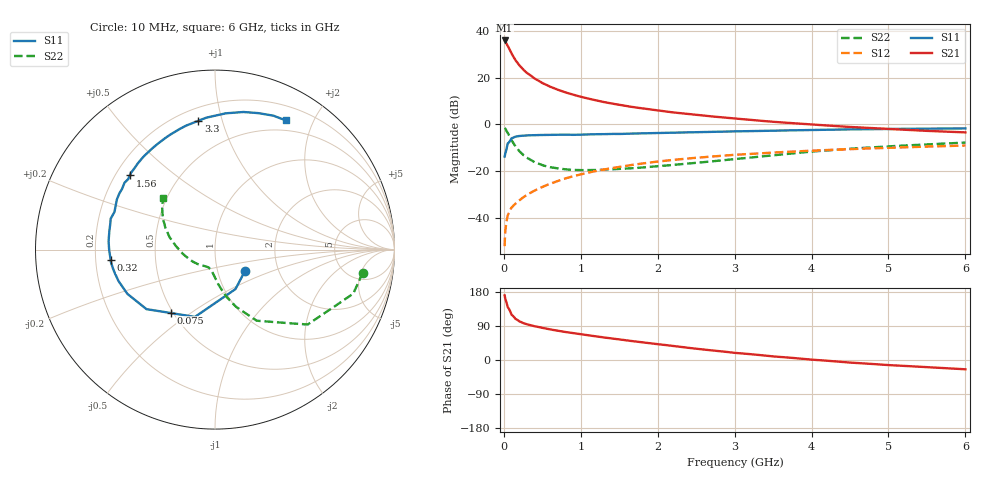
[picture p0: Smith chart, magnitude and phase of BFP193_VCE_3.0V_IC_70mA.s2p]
! Infineon Technologies  Discrete & RF Semiconductors
! BFP193
! VCE = 3.0 V,  IC =  70 mA
! Common Emitter S-Parameters:  Jan 2016
# GHz  S  MA  R  50
!  f  S11  S21  S12  S22
! GHz  MAG  ANG  MAG  ANG  MAG  ANG  MAG  ANG
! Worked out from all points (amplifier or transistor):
!   210 points, 10 MHz to 6 GHz, reference 50 ohm
!   highest |S21| = 35.9 dB at 10 MHz (marker M1)
!   |S21| within 3 dB of that: start of sweep to 61.82 MHz
!   unconditionally stable (mu >= 1): 390.8 MHz to 3.997 GHz; 4.056 GHz to 4.11 GHz
!   at 185 MHz: K = 0.79, MSG = 29.5 dB, |S12| = -32.9 dB
!   at 1.52 GHz: K = 1.10, MAG = 11.2 dB, |S12| = -18.0 dB
!   at 6 GHz: K = 0.96, MSG = 2.8 dB, |S12| = -9.0 dB
!   S11 on the Smith chart (normalised r, x): 10 MHz: 1.35, -0.34; 75 MHz: 0.49, -0.42; 320 MHz: 0.26, -0.05; 1.56 GHz: 0.26, +0.35; 3.3 GHz: 0.28, +0.84; 6 GHz: 0.37, +1.63
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0.01  0.2054 -36.0  62.2 170.6  0.0025 79.2  0.8332 -8.9
0.02  0.2478 -62.6  58.98 160.8  0.0055 72.9  0.8082 -17.7
0.05  0.3912 -106.6  48.1 139.8  0.0113 62.8  0.6638 -39.0
0.075  0.4309 -124.9  39.74 131.7  0.014 59.8  0.5528 -47.4
0.1  0.5057 -139.0  32.59 119.6  0.0167 57.7  0.4593 -59.6
0.15  0.5469 -153.2  23.66 108.7  0.0202 56.5  0.3384 -69.9
0.2  0.5657 -162.0  18.45 102.1  0.0237 58.7  0.2695 -76.4
0.26  0.5776 -169.2  14.45 96.8  0.0282 60.9  0.2166 -81.7
0.3  0.5836 -172.8  12.58 94.0  0.0312 62.8  0.1941 -84.6
0.32  0.5841 -174.2  11.97 93.2  0.0327 63.2  0.1862 -85.5
0.4  0.5896 -179.8  9.556 89.0  0.0385 64.4  0.1554 -90.2
0.5  0.5947 175.5  7.665 84.7  0.046 66.1  0.1339 -94.6
0.6  0.5976 170.7  6.411 80.7  0.0538 66.3  0.1219 -98.6
0.8  0.6062 163.5  4.834 73.9  0.07 65.6  0.1096 -105.7
1.02  0.6075 155.4  3.82 67.5  0.087 64.4  0.1055 -112.2
1.56  0.6293 139.0  2.526 52.8  0.1287 58.6  0.1135 -128.8
2.02  0.6549 126.5  1.965 41.4  0.162 52.8  0.1285 -142.9
3.1  0.7132 101.2  1.289 17.3  0.2288 38.2  0.1878 -175.6
3.3  0.7234 97.4  1.21 13.6  0.2394 35.7  0.2024 179.3
4.1  0.7649 84.0  0.971 -0.4  0.2792 25.9  0.2702 162.8
5.1  0.801 70.9  0.786 -14.4  0.3202 14.6  0.3464 147.3
6  0.8211 61.2  0.675 -24.5  0.3537 4.7  0.4084 135.4
